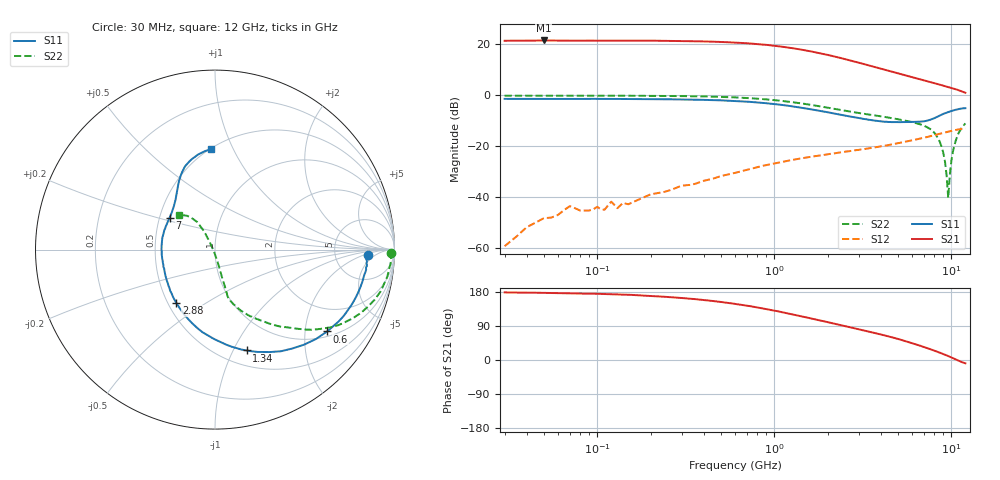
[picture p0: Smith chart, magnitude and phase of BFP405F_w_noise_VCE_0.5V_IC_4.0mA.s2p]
! Infineon Technologies  Discrete & RF Semiconductors
! BFP405F
! VCE =  0.5 V,  IC =  4.0 mA
! Common Emitter S-Parameters:  Nov 2015
# GHz  S  MA  R  50
!  f  S11  S21  S12  S22
! GHz  MAG  ANG  MAG  ANG  MAG  ANG  MAG  ANG
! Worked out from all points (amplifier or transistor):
!   239 points, 30 MHz to 12 GHz, reference 50 ohm
!   highest |S21| = 21.5 dB at 50 MHz (marker M1)
!   |S21| within 3 dB of that: start of sweep to 1.258 GHz
!   unconditionally stable (mu >= 1): 2.961 GHz to end of sweep
!   at 300 MHz: K = 0.06, MSG = 28.4 dB, |S12| = -35.4 dB
!   at 1.88 GHz: K = 0.67, MSG = 19.8 dB, |S12| = -23.5 dB
!   at 12 GHz: K = 1.49, MAG = 2.8 dB, |S12| = -13.0 dB
!   lowest NFmin = 1.20 dB at 450 MHz
!   S11 on the Smith chart (normalised r, x): 30 MHz: 12, -2; 600 MHz: 1.15, -2.62; 1.34 GHz: 0.66, -1.13; 2.88 GHz: 0.55, -0.38; 7 GHz: 0.57, +0.22; 12 GHz: 0.51, +0.82
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0.03  0.8504 -1.9  11.73 178.3  0.0011 41.5  0.9827 -1.1
0.05  0.8436 -3.2  11.89 177.1  0.0039 106.7  0.9822 -1.7
0.085  0.8489 -5.4  11.79 175.2  0.0055 87.9  0.9821 -3.1
0.14  0.8461 -8.8  11.8 172.8  0.0078 86.0  0.9808 -5.0
0.24  0.8359 -14.9  11.7 166.9  0.0128 83.3  0.9722 -8.6
0.4  0.8136 -24.5  11.39 158.3  0.0211 79.8  0.9523 -14.1
0.6  0.7736 -36.1  10.8 148.1  0.0301 72.5  0.9092 -20.5
0.7  0.7516 -41.5  10.5 143.4  0.0347 69.9  0.8858 -23.5
0.9  0.6994 -52.0  9.762 134.3  0.0429 65.2  0.8321 -29.0
1.1  0.6488 -61.6  8.988 126.4  0.0491 60.9  0.7765 -33.9
1.34  0.5893 -72.5  8.131 117.9  0.056 57.3  0.7139 -38.5
1.64  0.5255 -84.7  7.164 108.9  0.0629 53.1  0.6436 -43.4
2.2  0.436 -105.6  5.734 95.2  0.0725 48.3  0.5396 -51.5
2.88  0.3668 -126.0  4.523 82.9  0.0838 45.0  0.4596 -58.0
4.5  0.2997 -165.7  2.986 61.3  0.1072 40.9  0.3626 -67.5
7  0.3089 144.7  1.969 34.2  0.1472 33.4  0.254 -74.8
8.8  0.416 119.5  1.58 17.5  0.1798 26.3  0.0986 -76.8
9.2  0.4444 116.0  1.513 13.9  0.1869 24.4  0.0506 -80.9
9.6  0.4697 112.9  1.452 10.4  0.1939 22.5  0.0097 -157.6
9.8  0.4809 111.4  1.423 8.6  0.1974 21.5  0.0273 134.9
10.2  0.5019 108.0  1.367 5.1  0.2038 19.3  0.0781 122.4
12  0.5588 92.3  1.121 -8.8  0.2249 11.3  0.2811 136.2
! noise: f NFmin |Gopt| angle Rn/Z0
0.45  1.2  0.44  5  0.35
0.9  1.21  0.41  13  0.38
1.5  1.29  0.38  19  0.33
1.9  1.32  0.36  25  0.33
2.4  1.49  0.34  35  0.35
3  1.56  0.32  46  0.32
3.5  1.61  0.31  55  0.29
4.5  1.77  0.24  70  0.26
5.5  2  0.15  83  0.16
